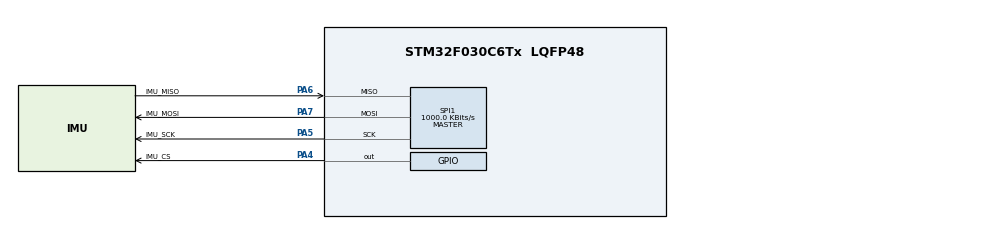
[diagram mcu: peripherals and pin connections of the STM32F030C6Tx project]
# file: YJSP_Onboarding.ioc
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Mcu.Family=STM32F0
Mcu.Name=STM32F030C6Tx
Mcu.Package=LQFP48
PA4.GPIO_Label=IMU_CS
PA4.Signal=GPIO_Output
PA5.GPIO_Label=IMU_SCK
PA5.Mode=Full_Duplex_Master
PA5.Signal=SPI1_SCK
PA6.GPIO_Label=IMU_MISO
PA6.Mode=Full_Duplex_Master
PA6.Signal=SPI1_MISO
PA7.GPIO_Label=IMU_MOSI
PA7.Mode=Full_Duplex_Master
PA7.Signal=SPI1_MOSI
ProjectManager.HeapSize=0x200
ProjectManager.StackSize=0x400
ProjectManager.TargetToolchain=STM32CubeIDE
SPI1.BaudRatePrescaler=SPI_BAUDRATEPRESCALER_8
SPI1.CLKPhase=SPI_PHASE_2EDGE
SPI1.CLKPolarity=SPI_POLARITY_HIGH
SPI1.CalculateBaudRate=1000.0 KBits/s
SPI1.DataSize=SPI_DATASIZE_8BIT
SPI1.Direction=SPI_DIRECTION_2LINES
SPI1.Mode=SPI_MODE_MASTER
SPI1.VirtualType=VM_MASTER
board=custom

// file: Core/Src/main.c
/* USER CODE BEGIN Header */
/**
  ******************************************************************************
  * @file           : main.c
  * @brief          : Main program body
  ******************************************************************************
  * @attention
  *
  * Copyright (c) 2026 STMicroelectronics.
  * All rights reserved.
  *
  * This software is licensed under terms that can be found in the LICENSE file
  * in the root directory of this software component.
  * If no LICENSE file comes with this software, it is provided AS-IS.
  *
  ******************************************************************************
  */
/* USER CODE END Header */
#include "main.h"

/* USER CODE BEGIN Includes */
#include <stdio.h>
#include <stdbool.h>
extern void initialise_monitor_handles(void);
#include "imu.h"
/* USER CODE END Includes */

/* USER CODE BEGIN PD */
#define LOOP_FREQUENCY_HZ 200
#define LOOP_PERIOD_MS (1000 / LOOP_FREQUENCY_HZ) // 200 Hz -> 5 * 10^-3 s -> 5 ms
/* USER CODE END PD */

SPI_HandleTypeDef hspi1;

void SystemClock_Config(void);
static void MX_GPIO_Init(void);
static void MX_SPI1_Init(void);

int main(void)
{

  /* USER CODE BEGIN 1 */
  initialise_monitor_handles();
  /* USER CODE END 1 */

  /* MCU Configuration--------------------------------------------------------*/

  /* Reset of all peripherals, Initializes the Flash interface and the Systick. */
  HAL_Init();

  /* Configure the system clock */
  SystemClock_Config();

  /* Initialize all configured peripherals */
  MX_GPIO_Init();
  MX_SPI1_Init();
  /* USER CODE BEGIN 2 */
  HAL_Delay(50); // boot delay

  // settings
  IMU_LA_ODR_Setting LA_ODR = LA_ODR_6;
  IMU_LA_FS_Setting LA_FSR = LA_FS_8G;
  IMU_LA_LPF2_Setting LA_LPF2 = LA_LPF2_OFF;
  IMU_G_ODR_Setting G_ODR = G_ODR_6;
  IMU_G_FS_Setting G_FSR = G_FS_1000;

  bool startupFailed = false;
  uint8_t id = 0;
  startupFailed |= (imu_read_reg(IMU_REG_WHO_AM_I, &id) != HAL_OK);
  startupFailed |= (id != IMU_REG_WHO_AM_I_EXPECTED);
  startupFailed |= (imu_enable_bdu() != HAL_OK);
  startupFailed |= (imu_configure_accelerometer(LA_ODR, LA_FSR, LA_LPF2) != HAL_OK);
  startupFailed |= (imu_configure_gyroscope(G_ODR, G_FSR) != HAL_OK);
  /* USER CODE END 2 */

  /* Infinite loop */
  /* USER CODE BEGIN WHILE */
  if(startupFailed) {
	  Error_Handler();
  }
  uint32_t next = HAL_GetTick();
  while (1)
  {
    /* USER CODE END WHILE */

    /* USER CODE BEGIN 3 */
	next += LOOP_PERIOD_MS;
	IMU_READING reading = imu_read_all(LA_FSR, G_FSR);
	if(reading.ERROR) {
		printf("IMU READING ERROR!\n");
	} else {
		printf("Accel: (%d, %d, %d) mm/s^2 | Gyro: (%d, %d, %d) mrad/s\n",
				(int)(reading.LA_X * 1000.0f),
				(int)(reading.LA_Y * 1000.0f),
				(int)(reading.LA_Z * 1000.0f),
				(int)(reading.G_X * 1000.0f),
				(int)(reading.G_Y * 1000.0f),
				(int)(reading.G_Z * 1000.0f));
	}
	while((int32_t)(HAL_GetTick() - next) < 0);
  }
  /* USER CODE END 3 */
}

void SystemClock_Config(void)
{
  RCC_OscInitTypeDef RCC_OscInitStruct = {0};
  RCC_ClkInitTypeDef RCC_ClkInitStruct = {0};

  /** Initializes the RCC Oscillators according to the specified parameters
  * in the RCC_OscInitTypeDef structure.
  */
  RCC_OscInitStruct.OscillatorType = RCC_OSCILLATORTYPE_HSI;
  RCC_OscInitStruct.HSIState = RCC_HSI_ON;
  RCC_OscInitStruct.HSICalibrationValue = RCC_HSICALIBRATION_DEFAULT;
  RCC_OscInitStruct.PLL.PLLState = RCC_PLL_NONE;
  if (HAL_RCC_OscConfig(&RCC_OscInitStruct) != HAL_OK)
  {
    Error_Handler();
  }

  /** Initializes the CPU, AHB and APB buses clocks
  */
  RCC_ClkInitStruct.ClockType = RCC_CLOCKTYPE_HCLK|RCC_CLOCKTYPE_SYSCLK
                              |RCC_CLOCKTYPE_PCLK1;
  RCC_ClkInitStruct.SYSCLKSource = RCC_SYSCLKSOURCE_HSI;
  RCC_ClkInitStruct.AHBCLKDivider = RCC_SYSCLK_DIV1;
  RCC_ClkInitStruct.APB1CLKDivider = RCC_HCLK_DIV1;

  if (HAL_RCC_ClockConfig(&RCC_ClkInitStruct, FLASH_LATENCY_0) != HAL_OK)
  {
    Error_Handler();
  }
}

static void MX_SPI1_Init(void)
{

  /* SPI1 parameter configuration*/
  hspi1.Instance = SPI1;
  hspi1.Init.Mode = SPI_MODE_MASTER;
  hspi1.Init.Direction = SPI_DIRECTION_2LINES;
  hspi1.Init.DataSize = SPI_DATASIZE_8BIT;
  hspi1.Init.CLKPolarity = SPI_POLARITY_HIGH;
  hspi1.Init.CLKPhase = SPI_PHASE_2EDGE;
  hspi1.Init.NSS = SPI_NSS_SOFT;
  hspi1.Init.BaudRatePrescaler = SPI_BAUDRATEPRESCALER_8;
  hspi1.Init.FirstBit = SPI_FIRSTBIT_MSB;
  hspi1.Init.TIMode = SPI_TIMODE_DISABLE;
  hspi1.Init.CRCCalculation = SPI_CRCCALCULATION_DISABLE;
  hspi1.Init.CRCPolynomial = 7;
  hspi1.Init.CRCLength = SPI_CRC_LENGTH_DATASIZE;
  hspi1.Init.NSSPMode = SPI_NSS_PULSE_DISABLE;
  if (HAL_SPI_Init(&hspi1) != HAL_OK)
  {
    Error_Handler();
  }

}

static void MX_GPIO_Init(void)
{
  GPIO_InitTypeDef GPIO_InitStruct = {0};

  /* GPIO Ports Clock Enable */
  __HAL_RCC_GPIOA_CLK_ENABLE();

  /*Configure GPIO pin Output Level */
  HAL_GPIO_WritePin(IMU_CS_GPIO_Port, IMU_CS_Pin, GPIO_PIN_SET);

  /*Configure GPIO pin : IMU_CS_Pin */
  GPIO_InitStruct.Pin = IMU_CS_Pin;
  GPIO_InitStruct.Mode = GPIO_MODE_OUTPUT_PP;
  GPIO_InitStruct.Pull = GPIO_NOPULL;
  GPIO_InitStruct.Speed = GPIO_SPEED_FREQ_LOW;
  HAL_GPIO_Init(IMU_CS_GPIO_Port, &GPIO_InitStruct);

}

void Error_Handler(void)
{
  __disable_irq();
  while (1)
  {
  }
}
